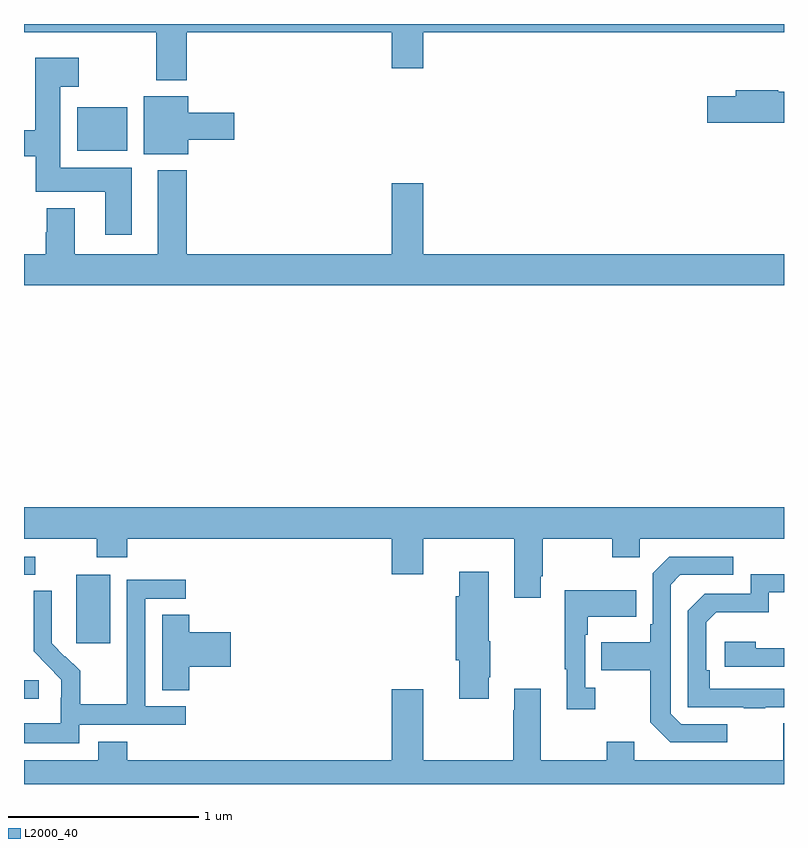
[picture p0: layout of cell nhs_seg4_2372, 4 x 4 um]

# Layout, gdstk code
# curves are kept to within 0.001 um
import gdstk
lib = gdstk.Library(unit=1e-6, precision=1e-09)
def R(c, l, rs):  # rectangles x0, y0, x1, y1
    for r in rs: c.add(gdstk.rectangle(r[:2], r[2:], *l))
def P(c, l, *ps):  # polygons
    for p in ps: c.add(gdstk.Polygon(p, *l))
L2000_40 = (2000, 40)

nhs_seg4_2372 = lib.new_cell('nhs_seg4_2372')
R(nhs_seg4_2372, L2000_40, [(235,757.349,235.078,757.446), (235.274,757.641,235.453,758.002), (235,758.001,235.06,758.097), (235.28,760.232,235.543,760.462)])
P(nhs_seg4_2372, L2000_40, [(235,760.856),(235.696,760.856),(235.696,760.604),(235.856,760.604),(235.856,760.856),(236.936,760.856),(236.936,760.668),(237.1,760.668),(237.1,760.856),(239,760.856),(239,760.9),(235,760.9)],
  [(235.567,760.144),(235.192,760.144),(235.192,760.571),(235.288,760.571),(235.288,760.723),(235.058,760.723),(235.058,760.34),(235,760.34),(235,760.204),(235.063,760.204),(235.063,760.016),(235.427,760.016),(235.427,759.792),(235.567,759.792)],
  [(239,760.543),(238.97,760.543),(238.97,760.551),(238.745,760.551),(238.745,760.521),(238.596,760.521),(238.596,760.379),(239,760.379)],
  [(235.864,760.292),(236.107,760.292),(236.107,760.434),(235.864,760.434),(235.864,760.519),(235.631,760.519),(235.631,760.214),(235.864,760.214)],
  [(239,759.688),(237.1,759.688),(237.1,760.063),(236.936,760.063),(236.936,759.688),(235.856,759.688),(235.856,760.129),(235.703,760.129),(235.703,759.688),(235.267,759.688),(235.267,759.931),(235.12,759.931),(235.12,759.804),(235.115,759.804),(235.115,759.688),(235,759.688),(235,759.524),(239,759.524)],
  [(237.721,757.993),(237.729,757.993),(237.729,758.192),(238.096,758.192),(238.096,758.093),(238.242,758.093),(238.242,758.192),(239,758.192),(239,758.356),(235,758.356),(235,758.192),(235.384,758.192),(235.384,758.093),(235.544,758.093),(235.544,758.192),(236.936,758.192),(236.936,758.004),(237.1,758.004),(237.1,758.192),(237.581,758.192),(237.581,757.881),(237.721,757.881)],
  [(238.702,757.215),(238.458,757.215),(238.404,757.269),(238.404,757.95),(238.455,758.001),(238.732,758.001),(238.732,758.097),(238.395,758.097),(238.308,758.01),(238.308,757.741),(238.296,757.741),(238.296,757.645),(238.039,757.645),(238.039,757.498),(238.296,757.498),(238.296,757.225),(238.401,757.119),(238.702,757.119)],
  [(237.445,757.462),(237.453,757.462),(237.453,757.651),(237.445,757.651),(237.445,758.017),(237.29,758.017),(237.29,757.887),(237.272,757.887),(237.272,757.551),(237.29,757.551),(237.29,757.35),(237.445,757.35)],
  [(238.901,757.305),(239,757.305),(239,757.401),(238.61,757.401),(238.61,757.498),(238.59,757.498),(238.59,757.752),(238.643,757.805),(238.92,757.805),(238.92,757.908),(239,757.908),(239,758.004),(238.824,758.004),(238.824,757.902),(238.584,757.902),(238.494,757.812),(238.494,757.305),(238.789,757.305),(238.789,757.3),(238.901,757.3)],
  [(235.29,757.212),(235.852,757.212),(235.852,757.308),(235.638,757.308),(235.638,757.875),(235.852,757.875),(235.852,757.974),(235.542,757.974),(235.542,757.544),(235.54,757.544),(235.54,757.321),(235.295,757.321),(235.295,757.495),(235.218,757.572),(235.215,757.569),(235.145,757.64),(235.146,757.916),(235.05,757.916),(235.05,757.598),(235.196,757.45),(235.196,757.353),(235.194,757.353),(235.194,757.219),(235,757.219),(235,757.115),(235.29,757.115)],
  [(238.006,757.406),(237.954,757.406),(237.954,757.685),(237.967,757.685),(237.967,757.781),(238.223,757.781),(238.223,757.921),(237.846,757.921),(237.846,757.505),(237.857,757.505),(237.857,757.293),(238.006,757.293)],
  [(235.871,757.517),(236.089,757.517),(236.089,757.7),(235.871,757.7),(235.871,757.79),(235.727,757.79),(235.727,757.393),(235.871,757.393)],
  [(239,757.614),(238.85,757.614),(238.85,757.648),(238.689,757.648),(238.689,757.518),(239,757.518)],
  [(239,757.219),(238.997,757.219),(238.997,757.024),(238.213,757.024),(238.213,757.123),(238.066,757.123),(238.066,757.024),(237.721,757.024),(237.721,757.402),(237.581,757.402),(237.581,757.289),(237.574,757.289),(237.574,757.024),(237.1,757.024),(237.1,757.399),(236.936,757.399),(236.936,757.024),(235.544,757.024),(235.544,757.123),(235.391,757.123),(235.391,757.024),(235,757.024),(235,756.9),(239,756.9)])

lib.write_gds('nhs_seg4_2372.gds')
